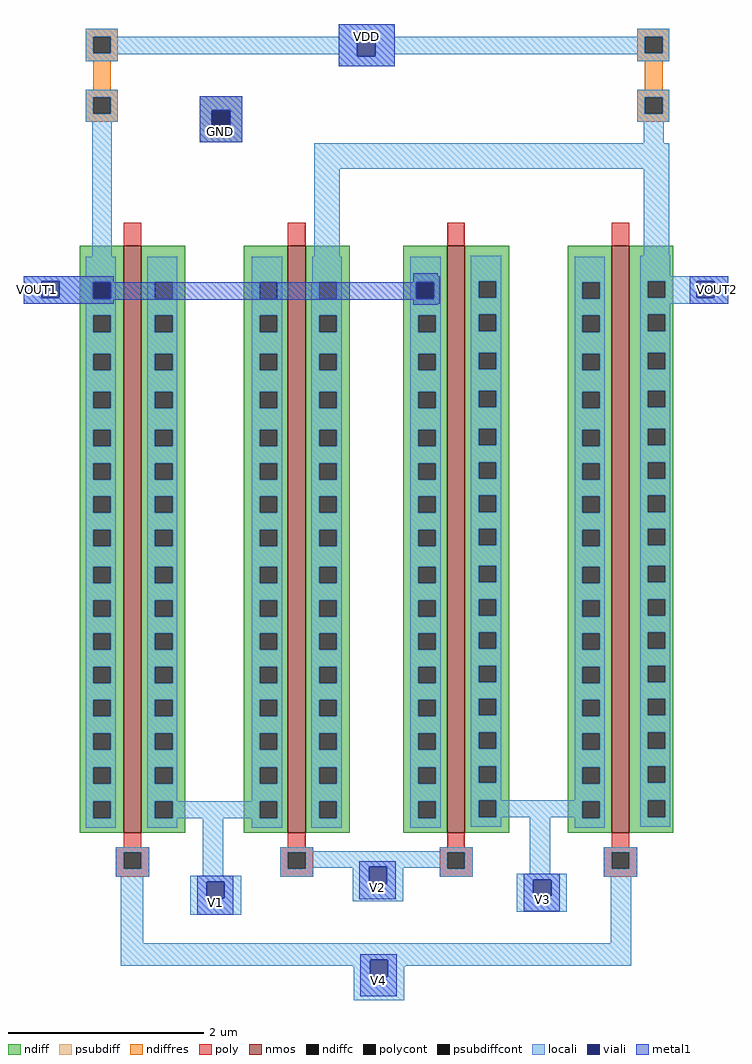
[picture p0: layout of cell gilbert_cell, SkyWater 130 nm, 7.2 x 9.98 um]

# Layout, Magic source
magic
tech sky130A
<< nmos >>
rect 45 0 63 600
rect 213 0 231 600
rect 376 0 394 600
rect 544 0 562 600
<< ndiff >>
rect 0 563 45 600
rect 0 546 14 563
rect 32 546 45 563
rect 0 529 45 546
rect 0 512 14 529
rect 32 512 45 529
rect 0 490 45 512
rect 0 473 14 490
rect 32 473 45 490
rect 0 451 45 473
rect 0 434 14 451
rect 32 434 45 451
rect 0 412 45 434
rect 0 395 14 412
rect 32 395 45 412
rect 0 378 45 395
rect 0 361 14 378
rect 32 361 45 378
rect 0 344 45 361
rect 0 327 14 344
rect 32 327 45 344
rect 0 310 45 327
rect 0 293 14 310
rect 32 293 45 310
rect 0 272 45 293
rect 0 255 14 272
rect 32 255 45 272
rect 0 238 45 255
rect 0 221 14 238
rect 32 221 45 238
rect 0 204 45 221
rect 0 187 14 204
rect 32 187 45 204
rect 0 170 45 187
rect 0 153 14 170
rect 32 153 45 170
rect 0 136 45 153
rect 0 119 14 136
rect 32 119 45 136
rect 0 102 45 119
rect 0 85 14 102
rect 32 85 45 102
rect 0 67 45 85
rect 0 50 14 67
rect 32 50 45 67
rect 0 32 45 50
rect 0 15 14 32
rect 32 15 45 32
rect 0 0 45 15
rect 63 563 108 600
rect 63 546 77 563
rect 95 546 108 563
rect 63 529 108 546
rect 63 512 77 529
rect 95 512 108 529
rect 63 490 108 512
rect 63 473 77 490
rect 95 473 108 490
rect 63 451 108 473
rect 63 434 77 451
rect 95 434 108 451
rect 63 412 108 434
rect 63 395 77 412
rect 95 395 108 412
rect 63 378 108 395
rect 63 361 77 378
rect 95 361 108 378
rect 63 344 108 361
rect 63 327 77 344
rect 95 327 108 344
rect 63 310 108 327
rect 63 293 77 310
rect 95 293 108 310
rect 63 272 108 293
rect 63 255 77 272
rect 95 255 108 272
rect 63 238 108 255
rect 63 221 77 238
rect 95 221 108 238
rect 63 204 108 221
rect 63 187 77 204
rect 95 187 108 204
rect 63 170 108 187
rect 63 153 77 170
rect 95 153 108 170
rect 63 136 108 153
rect 63 119 77 136
rect 95 119 108 136
rect 63 102 108 119
rect 63 85 77 102
rect 95 85 108 102
rect 63 67 108 85
rect 63 50 77 67
rect 95 50 108 67
rect 63 32 108 50
rect 63 15 77 32
rect 95 15 108 32
rect 63 0 108 15
rect 168 563 213 600
rect 168 546 184 563
rect 202 546 213 563
rect 168 529 213 546
rect 168 512 184 529
rect 202 512 213 529
rect 168 490 213 512
rect 168 473 184 490
rect 202 473 213 490
rect 168 451 213 473
rect 168 434 184 451
rect 202 434 213 451
rect 168 412 213 434
rect 168 395 184 412
rect 202 395 213 412
rect 168 378 213 395
rect 168 361 184 378
rect 202 361 213 378
rect 168 344 213 361
rect 168 327 184 344
rect 202 327 213 344
rect 168 310 213 327
rect 168 293 184 310
rect 202 293 213 310
rect 168 272 213 293
rect 168 255 184 272
rect 202 255 213 272
rect 168 238 213 255
rect 168 221 184 238
rect 202 221 213 238
rect 168 204 213 221
rect 168 187 184 204
rect 202 187 213 204
rect 168 170 213 187
rect 168 153 184 170
rect 202 153 213 170
rect 168 136 213 153
rect 168 119 184 136
rect 202 119 213 136
rect 168 102 213 119
rect 168 85 184 102
rect 202 85 213 102
rect 168 67 213 85
rect 168 50 184 67
rect 202 50 213 67
rect 168 32 213 50
rect 168 15 184 32
rect 202 15 213 32
rect 168 0 213 15
rect 231 563 276 600
rect 231 546 245 563
rect 263 546 276 563
rect 231 529 276 546
rect 231 512 245 529
rect 263 512 276 529
rect 231 490 276 512
rect 231 473 245 490
rect 263 473 276 490
rect 231 451 276 473
rect 231 434 245 451
rect 263 434 276 451
rect 231 412 276 434
rect 231 395 245 412
rect 263 395 276 412
rect 231 378 276 395
rect 231 361 245 378
rect 263 361 276 378
rect 231 344 276 361
rect 231 327 245 344
rect 263 327 276 344
rect 231 310 276 327
rect 231 293 245 310
rect 263 293 276 310
rect 231 272 276 293
rect 231 255 245 272
rect 263 255 276 272
rect 231 238 276 255
rect 231 221 245 238
rect 263 221 276 238
rect 231 204 276 221
rect 231 187 245 204
rect 263 187 276 204
rect 231 170 276 187
rect 231 153 245 170
rect 263 153 276 170
rect 231 136 276 153
rect 231 119 245 136
rect 263 119 276 136
rect 231 102 276 119
rect 231 85 245 102
rect 263 85 276 102
rect 231 67 276 85
rect 231 50 245 67
rect 263 50 276 67
rect 231 32 276 50
rect 231 15 245 32
rect 263 15 276 32
rect 231 0 276 15
rect 331 563 376 600
rect 331 546 344 563
rect 362 546 376 563
rect 331 529 376 546
rect 331 512 346 529
rect 364 512 376 529
rect 331 490 376 512
rect 331 473 346 490
rect 364 473 376 490
rect 331 451 376 473
rect 331 434 346 451
rect 364 434 376 451
rect 331 412 376 434
rect 331 395 346 412
rect 364 395 376 412
rect 331 378 376 395
rect 331 361 346 378
rect 364 361 376 378
rect 331 344 376 361
rect 331 327 346 344
rect 364 327 376 344
rect 331 310 376 327
rect 331 293 346 310
rect 364 293 376 310
rect 331 272 376 293
rect 331 255 346 272
rect 364 255 376 272
rect 331 238 376 255
rect 331 221 346 238
rect 364 221 376 238
rect 331 204 376 221
rect 331 187 346 204
rect 364 187 376 204
rect 331 170 376 187
rect 331 153 346 170
rect 364 153 376 170
rect 331 136 376 153
rect 331 119 346 136
rect 364 119 376 136
rect 331 102 376 119
rect 331 85 346 102
rect 364 85 376 102
rect 331 67 376 85
rect 331 50 346 67
rect 364 50 376 67
rect 331 32 376 50
rect 331 15 346 32
rect 364 15 376 32
rect 331 0 376 15
rect 394 564 439 600
rect 394 547 408 564
rect 426 547 439 564
rect 394 530 439 547
rect 394 513 408 530
rect 426 513 439 530
rect 394 491 439 513
rect 394 474 408 491
rect 426 474 439 491
rect 394 452 439 474
rect 394 435 408 452
rect 426 435 439 452
rect 394 413 439 435
rect 394 396 408 413
rect 426 396 439 413
rect 394 379 439 396
rect 394 362 408 379
rect 426 362 439 379
rect 394 345 439 362
rect 394 328 408 345
rect 426 328 439 345
rect 394 311 439 328
rect 394 294 408 311
rect 426 294 439 311
rect 394 273 439 294
rect 394 256 408 273
rect 426 256 439 273
rect 394 239 439 256
rect 394 222 408 239
rect 426 222 439 239
rect 394 205 439 222
rect 394 188 408 205
rect 426 188 439 205
rect 394 171 439 188
rect 394 154 408 171
rect 426 154 439 171
rect 394 137 439 154
rect 394 120 408 137
rect 426 120 439 137
rect 394 103 439 120
rect 394 86 408 103
rect 426 86 439 103
rect 394 68 439 86
rect 394 51 408 68
rect 426 51 439 68
rect 394 33 439 51
rect 394 16 408 33
rect 426 16 439 33
rect 394 0 439 16
rect 499 563 544 600
rect 499 546 514 563
rect 532 546 544 563
rect 499 529 544 546
rect 499 512 514 529
rect 532 512 544 529
rect 499 490 544 512
rect 499 473 514 490
rect 532 473 544 490
rect 499 451 544 473
rect 499 434 514 451
rect 532 434 544 451
rect 499 412 544 434
rect 499 395 514 412
rect 532 395 544 412
rect 499 378 544 395
rect 499 361 514 378
rect 532 361 544 378
rect 499 344 544 361
rect 499 327 514 344
rect 532 327 544 344
rect 499 310 544 327
rect 499 293 514 310
rect 532 293 544 310
rect 499 272 544 293
rect 499 255 514 272
rect 532 255 544 272
rect 499 238 544 255
rect 499 221 514 238
rect 532 221 544 238
rect 499 204 544 221
rect 499 187 514 204
rect 532 187 544 204
rect 499 170 544 187
rect 499 153 514 170
rect 532 153 544 170
rect 499 136 544 153
rect 499 119 514 136
rect 532 119 544 136
rect 499 102 544 119
rect 499 85 514 102
rect 532 85 544 102
rect 499 67 544 85
rect 499 50 514 67
rect 532 50 544 67
rect 499 32 544 50
rect 499 15 514 32
rect 532 15 544 32
rect 499 0 544 15
rect 562 564 607 600
rect 562 547 581 564
rect 599 547 607 564
rect 562 530 607 547
rect 562 513 581 530
rect 599 513 607 530
rect 562 491 607 513
rect 562 474 581 491
rect 599 474 607 491
rect 562 452 607 474
rect 562 435 581 452
rect 599 435 607 452
rect 562 413 607 435
rect 562 396 581 413
rect 599 396 607 413
rect 562 379 607 396
rect 562 362 581 379
rect 599 362 607 379
rect 562 345 607 362
rect 562 328 581 345
rect 599 328 607 345
rect 562 311 607 328
rect 562 294 581 311
rect 599 294 607 311
rect 562 273 607 294
rect 562 256 581 273
rect 599 256 607 273
rect 562 239 607 256
rect 562 222 581 239
rect 599 222 607 239
rect 562 205 607 222
rect 562 188 581 205
rect 599 188 607 205
rect 562 171 607 188
rect 562 154 581 171
rect 599 154 607 171
rect 562 137 607 154
rect 562 120 581 137
rect 599 120 607 137
rect 562 103 607 120
rect 562 86 581 103
rect 599 86 607 103
rect 562 68 607 86
rect 562 51 581 68
rect 599 51 607 68
rect 562 33 607 51
rect 562 16 581 33
rect 599 16 607 33
rect 562 0 607 16
<< ndiffc >>
rect 14 797 32 814
rect 578 797 596 814
rect 14 735 32 752
rect 578 735 596 752
rect 14 546 32 563
rect 14 512 32 529
rect 14 473 32 490
rect 14 434 32 451
rect 14 395 32 412
rect 14 361 32 378
rect 14 327 32 344
rect 14 293 32 310
rect 14 255 32 272
rect 14 221 32 238
rect 14 187 32 204
rect 14 153 32 170
rect 14 119 32 136
rect 14 85 32 102
rect 14 50 32 67
rect 14 15 32 32
rect 77 546 95 563
rect 77 512 95 529
rect 77 473 95 490
rect 77 434 95 451
rect 77 395 95 412
rect 77 361 95 378
rect 77 327 95 344
rect 77 293 95 310
rect 77 255 95 272
rect 77 221 95 238
rect 77 187 95 204
rect 77 153 95 170
rect 77 119 95 136
rect 77 85 95 102
rect 77 50 95 67
rect 77 15 95 32
rect 184 546 202 563
rect 184 512 202 529
rect 184 473 202 490
rect 184 434 202 451
rect 184 395 202 412
rect 184 361 202 378
rect 184 327 202 344
rect 184 293 202 310
rect 184 255 202 272
rect 184 221 202 238
rect 184 187 202 204
rect 184 153 202 170
rect 184 119 202 136
rect 184 85 202 102
rect 184 50 202 67
rect 184 15 202 32
rect 245 546 263 563
rect 245 512 263 529
rect 245 473 263 490
rect 245 434 263 451
rect 245 395 263 412
rect 245 361 263 378
rect 245 327 263 344
rect 245 293 263 310
rect 245 255 263 272
rect 245 221 263 238
rect 245 187 263 204
rect 245 153 263 170
rect 245 119 263 136
rect 245 85 263 102
rect 245 50 263 67
rect 245 15 263 32
rect 344 546 362 563
rect 346 512 364 529
rect 346 473 364 490
rect 346 434 364 451
rect 346 395 364 412
rect 346 361 364 378
rect 346 327 364 344
rect 346 293 364 310
rect 346 255 364 272
rect 346 221 364 238
rect 346 187 364 204
rect 346 153 364 170
rect 346 119 364 136
rect 346 85 364 102
rect 346 50 364 67
rect 346 15 364 32
rect 408 547 426 564
rect 408 513 426 530
rect 408 474 426 491
rect 408 435 426 452
rect 408 396 426 413
rect 408 362 426 379
rect 408 328 426 345
rect 408 294 426 311
rect 408 256 426 273
rect 408 222 426 239
rect 408 188 426 205
rect 408 154 426 171
rect 408 120 426 137
rect 408 86 426 103
rect 408 51 426 68
rect 408 16 426 33
rect 514 546 532 563
rect 514 512 532 529
rect 514 473 532 490
rect 514 434 532 451
rect 514 395 532 412
rect 514 361 532 378
rect 514 327 532 344
rect 514 293 532 310
rect 514 255 532 272
rect 514 221 532 238
rect 514 187 532 204
rect 514 153 532 170
rect 514 119 532 136
rect 514 85 532 102
rect 514 50 532 67
rect 514 15 532 32
rect 581 547 599 564
rect 581 513 599 530
rect 581 474 599 491
rect 581 435 599 452
rect 581 396 599 413
rect 581 362 599 379
rect 581 328 599 345
rect 581 294 599 311
rect 581 256 599 273
rect 581 222 599 239
rect 581 188 599 205
rect 581 154 599 171
rect 581 120 599 137
rect 581 86 599 103
rect 581 51 599 68
rect 581 16 599 33
<< psubdiff >>
rect 123 739 166 753
rect 123 722 135 739
rect 154 722 166 739
rect 123 706 166 722
<< psubdiffcont >>
rect 135 722 154 739
<< poly >>
rect 45 600 63 624
rect 213 600 231 624
rect 376 600 394 624
rect 544 600 562 624
rect 45 -15 63 0
rect 213 -15 231 0
rect 376 -15 394 0
rect 544 -15 562 0
rect 37 -20 71 -15
rect 37 -37 45 -20
rect 63 -37 71 -20
rect 37 -45 71 -37
rect 205 -20 239 -15
rect 205 -37 213 -20
rect 231 -37 239 -20
rect 205 -45 239 -37
rect 368 -20 402 -15
rect 368 -37 376 -20
rect 394 -37 402 -20
rect 368 -45 402 -37
rect 536 -20 570 -15
rect 536 -37 544 -20
rect 562 -37 570 -20
rect 536 -45 570 -37
<< polycont >>
rect 45 -37 63 -20
rect 213 -37 231 -20
rect 376 -37 394 -20
rect 544 -37 562 -20
<< ndiffres >>
rect 6 814 39 822
rect 6 797 14 814
rect 32 797 39 814
rect 6 789 39 797
rect 570 814 603 822
rect 570 797 578 814
rect 596 797 603 814
rect 570 789 603 797
rect 14 760 32 789
rect 578 760 596 789
rect 6 752 39 760
rect 6 735 14 752
rect 32 735 39 752
rect 6 727 39 735
rect 570 752 603 760
rect 570 735 578 752
rect 596 735 603 752
rect 570 727 603 735
<< locali >>
rect 6 814 39 822
rect 265 814 322 827
rect 570 814 603 822
rect 6 797 14 814
rect 32 811 578 814
rect 32 797 284 811
rect 6 796 284 797
rect 6 789 39 796
rect 265 794 284 796
rect 302 797 578 811
rect 596 797 603 814
rect 302 796 603 797
rect 302 794 322 796
rect 265 784 322 794
rect 570 789 603 796
rect 6 752 39 760
rect 6 735 14 752
rect 32 735 39 752
rect 6 727 39 735
rect 123 739 166 753
rect 13 589 33 727
rect 123 722 135 739
rect 154 722 166 739
rect 570 752 603 760
rect 570 735 578 752
rect 596 735 603 752
rect 570 727 603 735
rect 123 706 166 722
rect 577 705 597 727
rect 240 679 603 705
rect 240 589 266 679
rect 577 590 603 679
rect 6 569 37 589
rect -57 564 37 569
rect -57 547 -39 564
rect -21 563 37 564
rect -21 547 14 563
rect -57 546 14 547
rect 32 546 37 563
rect -57 541 37 546
rect 6 529 37 541
rect 6 512 14 529
rect 32 512 37 529
rect 6 490 37 512
rect 6 473 14 490
rect 32 473 37 490
rect 6 451 37 473
rect 6 434 14 451
rect 32 434 37 451
rect 6 412 37 434
rect 6 395 14 412
rect 32 395 37 412
rect 6 378 37 395
rect 6 361 14 378
rect 32 361 37 378
rect 6 344 37 361
rect 6 327 14 344
rect 32 327 37 344
rect 6 310 37 327
rect 6 293 14 310
rect 32 293 37 310
rect 6 272 37 293
rect 6 255 14 272
rect 32 255 37 272
rect 6 238 37 255
rect 6 221 14 238
rect 32 221 37 238
rect 6 204 37 221
rect 6 187 14 204
rect 32 187 37 204
rect 6 170 37 187
rect 6 153 14 170
rect 32 153 37 170
rect 6 136 37 153
rect 6 119 14 136
rect 32 119 37 136
rect 6 102 37 119
rect 6 85 14 102
rect 32 85 37 102
rect 6 67 37 85
rect 6 50 14 67
rect 32 50 37 67
rect 6 32 37 50
rect 6 15 14 32
rect 32 15 37 32
rect 6 5 37 15
rect 69 563 100 589
rect 69 546 77 563
rect 95 546 100 563
rect 69 529 100 546
rect 69 512 77 529
rect 95 512 100 529
rect 69 490 100 512
rect 69 473 77 490
rect 95 473 100 490
rect 69 451 100 473
rect 69 434 77 451
rect 95 434 100 451
rect 69 412 100 434
rect 69 395 77 412
rect 95 395 100 412
rect 69 378 100 395
rect 69 361 77 378
rect 95 361 100 378
rect 69 344 100 361
rect 69 327 77 344
rect 95 327 100 344
rect 69 310 100 327
rect 69 293 77 310
rect 95 293 100 310
rect 69 272 100 293
rect 69 255 77 272
rect 95 255 100 272
rect 69 238 100 255
rect 69 221 77 238
rect 95 221 100 238
rect 69 204 100 221
rect 69 187 77 204
rect 95 187 100 204
rect 69 170 100 187
rect 69 153 77 170
rect 95 153 100 170
rect 69 136 100 153
rect 69 119 77 136
rect 95 119 100 136
rect 69 102 100 119
rect 69 85 77 102
rect 95 85 100 102
rect 69 67 100 85
rect 69 50 77 67
rect 95 50 100 67
rect 69 32 100 50
rect 176 563 207 589
rect 238 563 268 589
rect 176 546 184 563
rect 202 546 207 563
rect 176 529 207 546
rect 176 512 184 529
rect 202 512 207 529
rect 176 490 207 512
rect 176 473 184 490
rect 202 473 207 490
rect 176 451 207 473
rect 176 434 184 451
rect 202 434 207 451
rect 176 412 207 434
rect 176 395 184 412
rect 202 395 207 412
rect 176 378 207 395
rect 176 361 184 378
rect 202 361 207 378
rect 176 344 207 361
rect 176 327 184 344
rect 202 327 207 344
rect 176 310 207 327
rect 176 293 184 310
rect 202 293 207 310
rect 176 272 207 293
rect 176 255 184 272
rect 202 255 207 272
rect 176 238 207 255
rect 176 221 184 238
rect 202 221 207 238
rect 176 204 207 221
rect 176 187 184 204
rect 202 187 207 204
rect 176 170 207 187
rect 176 153 184 170
rect 202 153 207 170
rect 176 136 207 153
rect 176 119 184 136
rect 202 119 207 136
rect 176 102 207 119
rect 176 85 184 102
rect 202 85 207 102
rect 176 67 207 85
rect 176 50 184 67
rect 202 50 207 67
rect 176 32 207 50
rect 69 15 77 32
rect 95 15 184 32
rect 202 15 207 32
rect 69 5 100 15
rect 37 -20 71 -15
rect 37 -37 45 -20
rect 63 -37 71 -20
rect 37 -45 71 -37
rect 126 -44 147 15
rect 176 5 207 15
rect 237 546 245 563
rect 263 546 268 563
rect 237 529 268 546
rect 237 512 245 529
rect 263 512 268 529
rect 237 490 268 512
rect 237 473 245 490
rect 263 473 268 490
rect 237 451 268 473
rect 237 434 245 451
rect 263 434 268 451
rect 237 412 268 434
rect 237 395 245 412
rect 263 395 268 412
rect 237 378 268 395
rect 237 361 245 378
rect 263 361 268 378
rect 237 344 268 361
rect 237 327 245 344
rect 263 327 268 344
rect 237 310 268 327
rect 237 293 245 310
rect 263 293 268 310
rect 237 272 268 293
rect 237 255 245 272
rect 263 255 268 272
rect 237 238 268 255
rect 237 221 245 238
rect 263 221 268 238
rect 237 204 268 221
rect 237 187 245 204
rect 263 187 268 204
rect 237 170 268 187
rect 237 153 245 170
rect 263 153 268 170
rect 237 136 268 153
rect 237 119 245 136
rect 263 119 268 136
rect 237 102 268 119
rect 237 85 245 102
rect 263 85 268 102
rect 237 67 268 85
rect 237 50 245 67
rect 263 50 268 67
rect 237 32 268 50
rect 237 15 245 32
rect 263 15 268 32
rect 237 5 268 15
rect 338 563 369 589
rect 338 546 344 563
rect 362 546 369 563
rect 338 529 369 546
rect 338 512 346 529
rect 364 512 369 529
rect 338 490 369 512
rect 338 473 346 490
rect 364 473 369 490
rect 338 451 369 473
rect 338 434 346 451
rect 364 434 369 451
rect 338 412 369 434
rect 338 395 346 412
rect 364 395 369 412
rect 338 378 369 395
rect 338 361 346 378
rect 364 361 369 378
rect 338 344 369 361
rect 338 327 346 344
rect 364 327 369 344
rect 338 310 369 327
rect 338 293 346 310
rect 364 293 369 310
rect 338 272 369 293
rect 338 255 346 272
rect 364 255 369 272
rect 338 238 369 255
rect 338 221 346 238
rect 364 221 369 238
rect 338 204 369 221
rect 338 187 346 204
rect 364 187 369 204
rect 338 170 369 187
rect 338 153 346 170
rect 364 153 369 170
rect 338 136 369 153
rect 338 119 346 136
rect 364 119 369 136
rect 338 102 369 119
rect 338 85 346 102
rect 364 85 369 102
rect 338 67 369 85
rect 338 50 346 67
rect 364 50 369 67
rect 338 32 369 50
rect 338 15 346 32
rect 364 15 369 32
rect 338 5 369 15
rect 400 564 431 590
rect 400 547 408 564
rect 426 547 431 564
rect 400 530 431 547
rect 400 513 408 530
rect 426 513 431 530
rect 400 491 431 513
rect 400 474 408 491
rect 426 474 431 491
rect 400 452 431 474
rect 400 435 408 452
rect 426 435 431 452
rect 400 413 431 435
rect 400 396 408 413
rect 426 396 431 413
rect 400 379 431 396
rect 400 362 408 379
rect 426 362 431 379
rect 400 345 431 362
rect 400 328 408 345
rect 426 328 431 345
rect 400 311 431 328
rect 400 294 408 311
rect 426 294 431 311
rect 400 273 431 294
rect 400 256 408 273
rect 426 256 431 273
rect 400 239 431 256
rect 400 222 408 239
rect 426 222 431 239
rect 400 205 431 222
rect 400 188 408 205
rect 426 188 431 205
rect 400 171 431 188
rect 400 154 408 171
rect 426 154 431 171
rect 400 137 431 154
rect 400 120 408 137
rect 426 120 431 137
rect 400 103 431 120
rect 400 86 408 103
rect 426 86 431 103
rect 400 68 431 86
rect 400 51 408 68
rect 426 51 431 68
rect 400 33 431 51
rect 506 563 537 589
rect 506 546 514 563
rect 532 546 537 563
rect 506 529 537 546
rect 506 512 514 529
rect 532 512 537 529
rect 506 490 537 512
rect 506 473 514 490
rect 532 473 537 490
rect 506 451 537 473
rect 506 434 514 451
rect 532 434 537 451
rect 506 412 537 434
rect 506 395 514 412
rect 532 395 537 412
rect 506 378 537 395
rect 506 361 514 378
rect 532 361 537 378
rect 506 344 537 361
rect 506 327 514 344
rect 532 327 537 344
rect 506 310 537 327
rect 506 293 514 310
rect 532 293 537 310
rect 506 272 537 293
rect 506 255 514 272
rect 532 255 537 272
rect 506 238 537 255
rect 506 221 514 238
rect 532 221 537 238
rect 506 204 537 221
rect 506 187 514 204
rect 532 187 537 204
rect 506 170 537 187
rect 506 153 514 170
rect 532 153 537 170
rect 506 136 537 153
rect 506 119 514 136
rect 532 119 537 136
rect 506 102 537 119
rect 506 85 514 102
rect 532 85 537 102
rect 506 67 537 85
rect 506 50 514 67
rect 532 50 537 67
rect 506 33 537 50
rect 400 16 408 33
rect 426 32 537 33
rect 426 16 514 32
rect 400 6 431 16
rect 205 -19 239 -15
rect 368 -19 402 -15
rect 205 -20 402 -19
rect 205 -37 213 -20
rect 231 -35 376 -20
rect 231 -36 296 -35
rect 231 -37 239 -36
rect 42 -113 65 -45
rect 113 -50 165 -44
rect 205 -45 239 -37
rect 113 -67 130 -50
rect 148 -67 165 -50
rect 113 -84 165 -67
rect 279 -52 296 -36
rect 314 -36 376 -35
rect 314 -52 331 -36
rect 368 -37 376 -36
rect 394 -37 402 -20
rect 368 -45 402 -37
rect 460 -42 481 16
rect 506 15 514 16
rect 532 15 537 32
rect 506 5 537 15
rect 573 569 604 590
rect 573 564 663 569
rect 573 547 581 564
rect 599 547 631 564
rect 649 547 663 564
rect 573 541 663 547
rect 573 530 604 541
rect 573 513 581 530
rect 599 513 604 530
rect 573 491 604 513
rect 573 474 581 491
rect 599 474 604 491
rect 573 452 604 474
rect 573 435 581 452
rect 599 435 604 452
rect 573 413 604 435
rect 573 396 581 413
rect 599 396 604 413
rect 573 379 604 396
rect 573 362 581 379
rect 599 362 604 379
rect 573 345 604 362
rect 573 328 581 345
rect 599 328 604 345
rect 573 311 604 328
rect 573 294 581 311
rect 599 294 604 311
rect 573 273 604 294
rect 573 256 581 273
rect 599 256 604 273
rect 573 239 604 256
rect 573 222 581 239
rect 599 222 604 239
rect 573 205 604 222
rect 573 188 581 205
rect 599 188 604 205
rect 573 171 604 188
rect 573 154 581 171
rect 599 154 604 171
rect 573 137 604 154
rect 573 120 581 137
rect 599 120 604 137
rect 573 103 604 120
rect 573 86 581 103
rect 599 86 604 103
rect 573 68 604 86
rect 573 51 581 68
rect 599 51 604 68
rect 573 33 604 51
rect 573 16 581 33
rect 599 16 604 33
rect 573 6 604 16
rect 536 -20 570 -15
rect 536 -37 544 -20
rect 562 -37 570 -20
rect 279 -70 331 -52
rect 447 -48 498 -42
rect 536 -45 570 -37
rect 447 -65 464 -48
rect 482 -65 498 -48
rect 447 -81 498 -65
rect 543 -113 564 -45
rect 42 -130 564 -113
rect 42 -136 297 -130
rect 279 -137 297 -136
rect 280 -147 297 -137
rect 315 -136 564 -130
rect 315 -137 333 -136
rect 315 -147 332 -137
rect 280 -171 332 -147
<< viali >>
rect 284 794 302 811
rect 135 722 154 739
rect -39 547 -21 564
rect 14 546 32 563
rect 344 546 362 563
rect 130 -67 148 -50
rect 296 -52 314 -35
rect 631 547 649 564
rect 464 -65 482 -48
rect 297 -147 315 -130
<< metal1 >>
rect 265 811 322 827
rect 265 794 284 811
rect 302 794 322 811
rect 265 784 322 794
rect 123 739 166 753
rect 123 722 135 739
rect 154 722 166 739
rect 123 706 166 722
rect 341 569 366 572
rect -57 564 35 569
rect -57 547 -39 564
rect -21 563 35 564
rect 341 563 368 569
rect -21 547 14 563
rect -57 546 14 547
rect 32 546 344 563
rect 362 546 368 563
rect -57 545 368 546
rect -57 541 35 545
rect 341 541 368 545
rect 624 564 663 569
rect 624 547 631 564
rect 649 547 663 564
rect 624 541 663 547
rect 341 540 366 541
rect 286 -35 323 -29
rect 120 -50 157 -44
rect 120 -67 130 -50
rect 148 -67 157 -50
rect 120 -84 157 -67
rect 286 -52 296 -35
rect 314 -52 323 -35
rect 286 -68 323 -52
rect 454 -48 491 -42
rect 454 -65 464 -48
rect 482 -65 491 -48
rect 454 -80 491 -65
rect 287 -130 324 -124
rect 287 -147 297 -130
rect 315 -147 324 -130
rect 287 -167 324 -147
<< labels >>
flabel metal1 136 716 153 719 0 FreeSans 56 0 0 -56 GND
flabel metal1 284 813 302 815 0 FreeSans 56 0 0 56 VDD
flabel metal1 130 -72 148 -70 0 FreeSans 56 0 0 -56 V1
flabel metal1 296 -57 314 -55 0 FreeSans 56 0 0 -56 V2
flabel metal1 465 -69 481 -67 0 FreeSans 56 0 0 -56 V3
flabel metal1 298 -152 314 -150 0 FreeSans 56 0 0 -56 V4
flabel metal1 -45 547 -42 564 0 FreeSans 40 90 0 56 VOUT1
flabel metal1 651 547 653 564 0 FreeSans 40 270 0 56 VOUT2
<< end >>
